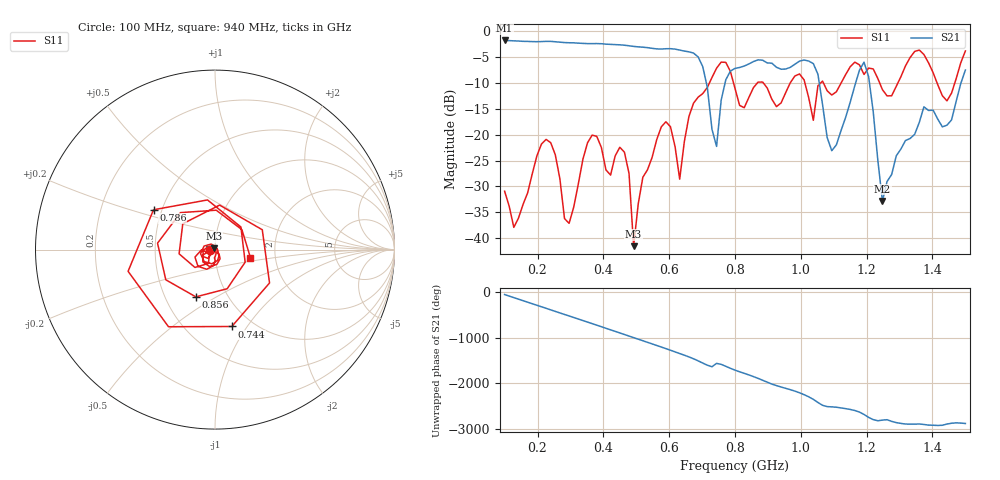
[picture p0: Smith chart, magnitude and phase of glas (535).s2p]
! NanoVNA-App
! Date: 2025-09-25 15:59:38
! Start: 100MHz Stop: 1,5GHz Points: 101
! S-Parameter data: F S11 S21 S12 S22
# Hz S RI R 50
!  Frequency  S11_Real  S11_Imag  S21_Real  S21_Imag  S12_Real  S12_Imag  S22_Real  S22_Imag
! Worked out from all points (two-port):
!   101 points, 100 MHz to 1.5 GHz, reference 50 ohm
!   highest |S21| = -1.80 dB at 100 MHz (marker M1); lowest = -32.8 dB at 1.248 GHz (marker M2)
!   |S21| within 3 dB of the highest: start of sweep to 684.5 MHz
!   lowest |S11| = -41.6 dB at 492 MHz (marker M3), VSWR 1.02, Z = 49.5 + j0.658 ohm
!   |S11| at or under -10 dB: start of sweep to 722.5 MHz; 795.5 MHz to 868.1 MHz (72.6 MHz wide, 8.73 % of centre); 885.9 MHz to 967.7 MHz (81.81 MHz wide, 8.83 % of centre) (the widest 3 of 7)
!   S12 and S22 are empty: the file has one direction only
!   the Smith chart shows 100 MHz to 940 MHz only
!   S11 on the Smith chart (normalised r, x): 100 MHz: 0.95, -0.01; 744 MHz: 0.80, -0.85; 786 MHz: 0.45, +0.24; 856 MHz: 0.71, -0.41; 940 MHz: 1.48, -0.14
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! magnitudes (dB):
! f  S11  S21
! 100 MHz  -30.9  -1.8
! 128 MHz  -37.9  -1.9
! 226 MHz  -20.9  -2.0
! 296 MHz  -37.1  -2.2
! 338 MHz  -24.7  -2.4
! 464 MHz  -23.4  -2.7
! 492 MHz  -41.6  -3.0
! 576 MHz  -18.5  -3.5
! 632 MHz  -28.6  -3.7
! 702 MHz  -12.1  -6.9
! 744 MHz  -7.2  -22.3
! 786 MHz  -7.8  -7.7
! 800 MHz  -11.1  -7.2
! 856 MHz  -10.9  -5.9
! 940 MHz  -13.9  -7.4
! 996 MHz  -8.3  -5.8
! 1.038 GHz  -17.2  -6.3
! 1.094 GHz  -12.4  -23.1
! 1.192 GHz  -8.4  -6.0
! 1.248 GHz  -11.3  -32.8
! 1.276 GHz  -12.5  -27.7
! 1.5 GHz  -3.8  -7.5
